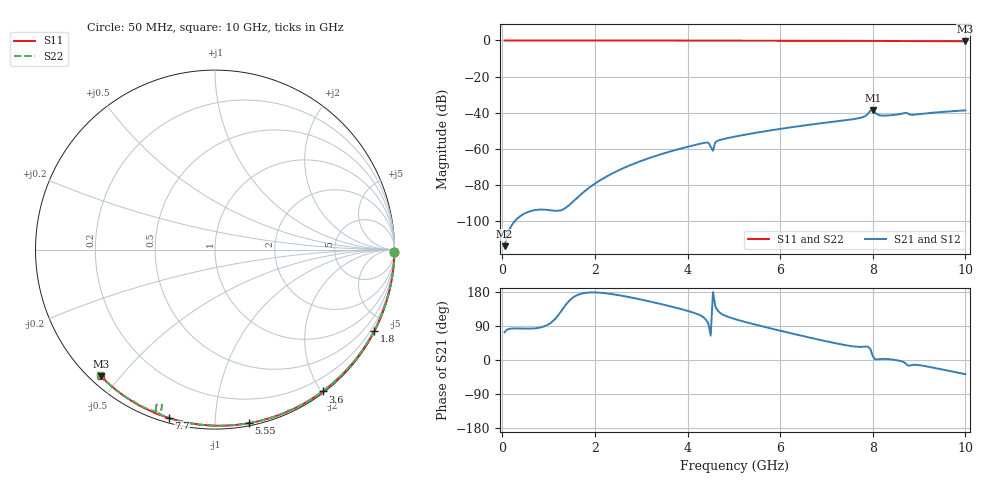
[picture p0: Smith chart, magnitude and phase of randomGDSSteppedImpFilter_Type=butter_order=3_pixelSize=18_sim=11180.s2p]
! freq	dB(S11)	phase(S11)	dB(S12)	phase(S12)
!  dB(S21)	phase(S21)	dB(S22)	phase(S22)
!S-par simulation data
#  GHz  S  DB  R 50
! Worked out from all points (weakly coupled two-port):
!   200 points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, 50 MHz to 10 GHz, reference 50 ohm
!   highest |S21| = -38.43 dB at 8 GHz (marker M1); lowest = -113.8 dB at 50 MHz (marker M2)
!   lowest |S11| = -0.4 dB at 10 GHz (marker M3), VSWR 38.78, Z = 1.55 - j22.3 ohm
!   |S11| at or under -10 dB: nowhere
!   |S22| runs from -0.8 to 0.0 dB; largest |S21 - S12| = 0
!   S11 on the Smith chart (normalised r, x): 50 MHz: open; 1.8 GHz: 0.04, -4.16; 3.6 GHz: 0.02, -2.01; 5.55 GHz: 0.02, -1.22; 7.7 GHz: 0.02, -0.76; 10 GHz: 0.03, -0.45
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0.05  -0.00 -0.8  -113.78 73.1  -113.78 73.1  -0.00 -0.8
1.75  -0.03 -26.3  -83.98 176.2  -83.98 176.2  -0.03 -26.5
1.8  -0.03 -27.0  -82.93 177.2  -82.93 177.2  -0.03 -27.2
1.95  -0.04 -29.2  -80.07 178.4  -80.07 178.4  -0.04 -29.4
2.55  -0.05 -37.9  -71.37 170.3  -71.37 170.3  -0.05 -38.2
3.4  -0.07 -50.0  -63.15 148.4  -63.15 148.4  -0.07 -50.4
3.6  -0.07 -52.8  -61.60 142.5  -61.60 142.5  -0.07 -53.2
4.45  -0.09 -64.4  -56.50 96.4  -56.50 96.4  -0.11 -65.1
4.55  -0.10 -65.8  -61.01 179.5  -61.01 179.5  -0.17 -65.9
4.6  -0.10 -66.4  -56.32 141.9  -56.32 141.9  -0.12 -66.7
4.65  -0.10 -67.1  -55.47 130.4  -55.47 130.4  -0.11 -67.4
5.05  -0.11 -72.4  -53.05 107.0  -53.05 107.0  -0.11 -72.9
5.55  -0.13 -78.9  -50.75 90.8  -50.75 90.8  -0.13 -79.4
6.7  -0.18 -93.3  -46.40 57.4  -46.40 57.4  -0.18 -94.1
7.7  -0.24 -105.3  -42.99 34.7  -42.99 34.7  -0.26 -106.8
7.85  -0.25 -107.1  -41.63 35.4  -41.63 35.4  -0.33 -109.3
8  -0.26 -108.9  -38.43 10.4  -38.43 10.4  -0.78 -108.8
8.1  -0.27 -110.1  -40.96 1.5  -40.96 1.5  -0.41 -109.4
8.35  -0.29 -113.0  -41.45 2.2  -41.45 2.2  -0.32 -113.1
8.7  -0.31 -117.1  -40.05 -8.1  -40.05 -8.1  -0.35 -117.5
8.85  -0.33 -118.8  -41.14 -13.0  -41.14 -13.0  -0.35 -119.2
10  -0.45 -132.0  -38.68 -37.4  -38.68 -37.4  -0.45 -132.6
